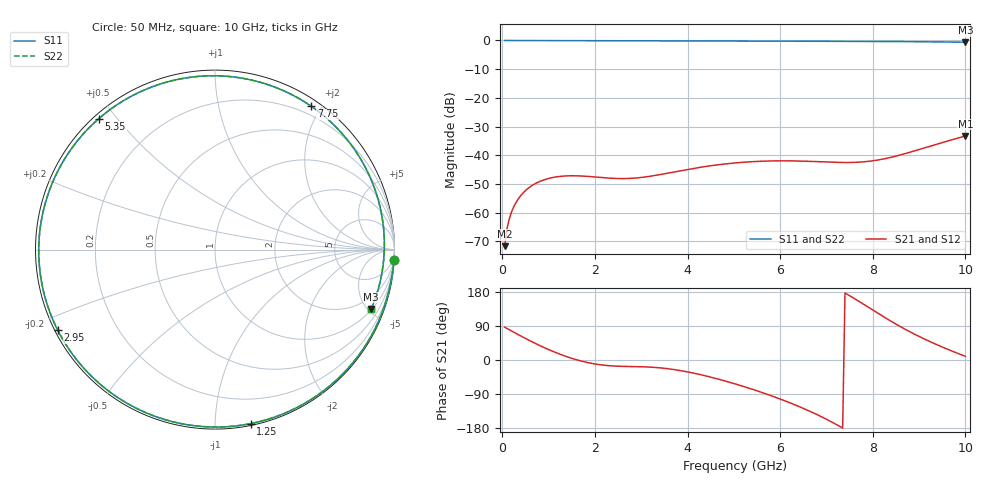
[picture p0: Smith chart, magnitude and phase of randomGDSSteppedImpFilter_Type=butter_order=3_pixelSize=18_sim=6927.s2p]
! freq	dB(S11)	phase(S11)	dB(S12)	phase(S12)
!  dB(S21)	phase(S21)	dB(S22)	phase(S22)
!S-par simulation data
#  GHz  S  DB  R 50
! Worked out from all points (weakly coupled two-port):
!   200 points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, 50 MHz to 10 GHz, reference 50 ohm
!   highest |S21| = -33.28 dB at 10 GHz (marker M1); lowest = -71.6 dB at 50 MHz (marker M2)
!   lowest |S11| = -0.6 dB at 10 GHz (marker M3), VSWR 27.87, Z = 53.1 - j262 ohm
!   |S11| at or under -10 dB: nowhere
!   |S22| runs from -0.6 to 0.0 dB; largest |S21 - S12| = 0
!   S11 on the Smith chart (normalised r, x): 50 MHz: 1, -35; 1.25 GHz: 0.01, -1.23; 2.95 GHz: 0.01, -0.24; 5.35 GHz: 0.01, +0.45; 7.75 GHz: 0.09, +1.87; 10 GHz: 1.06, -5.24
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0.05  -0.01 -3.3  -71.64 86.6  -71.64 86.6  -0.01 -3.3
0.1  -0.02 -6.6  -65.64 83.2  -65.64 83.2  -0.02 -6.6
0.15  -0.03 -10.0  -62.15 79.9  -62.15 79.9  -0.03 -10.0
0.25  -0.04 -16.8  -57.82 73.2  -57.82 73.2  -0.04 -16.8
0.4  -0.04 -26.7  -53.99 63.3  -53.99 63.3  -0.05 -26.7
0.6  -0.05 -39.7  -50.98 50.6  -50.98 50.6  -0.05 -39.7
0.85  -0.07 -55.3  -48.83 35.8  -48.83 35.8  -0.07 -55.3
1.25  -0.09 -78.4  -47.34 15.1  -47.34 15.1  -0.09 -78.4
1.75  -0.11 -103.9  -47.24 -4.1  -47.24 -4.1  -0.11 -103.9
2.35  -0.12 -130.2  -47.98 -15.5  -47.98 -15.5  -0.12 -130.2
2.95  -0.14 -152.9  -47.81 -17.6  -47.81 -17.6  -0.14 -153.0
3.4  -0.15 -168.4  -46.72 -20.6  -46.72 -20.6  -0.15 -168.4
4.2  -0.17 166.2  -44.37 -36.5  -44.37 -36.5  -0.17 166.1
5.05  -0.20 140.5  -42.62 -63.8  -42.62 -63.8  -0.20 140.4
5.35  -0.22 131.5  -42.26 -75.2  -42.26 -75.2  -0.22 131.5
6.05  -0.25 110.4  -41.92 -105.3  -41.92 -105.3  -0.25 110.3
6.7  -0.28 90.2  -42.15 -138.6  -42.15 -138.6  -0.28 90.1
7.2  -0.30 74.2  -42.45 -169.3  -42.45 -169.3  -0.30 74.1
7.75  -0.34 56.2  -42.33 151.1  -42.33 151.1  -0.34 56.0
8.35  -0.38 36.0  -40.86 105.5  -40.86 105.5  -0.38 35.8
9.2  -0.48 6.8  -37.02 50.5  -37.02 50.5  -0.48 6.7
10  -0.62 -20.8  -33.28 9.6  -33.28 9.6  -0.62 -20.9
